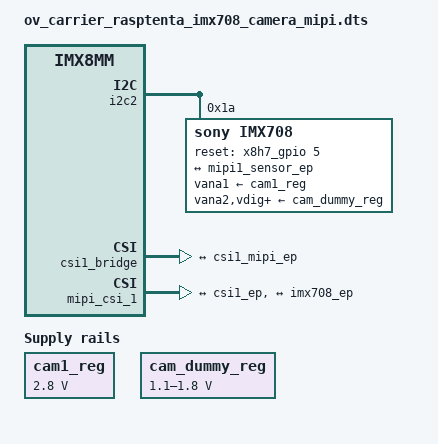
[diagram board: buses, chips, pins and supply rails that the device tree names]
/**
 * Portenta-X8 dtb overlay file
 * Arduino 2023
 * This overlay is adding the RPi V3.0 camera
 * with cmos sensor Sony imx708 to Rasp-Tenta carrier board
 */

/dts-v1/;
/plugin/;

#include <dt-bindings/gpio/gpio.h>
#include <dt-bindings/interrupt-controller/arm-gic.h>
#include <dt-bindings/clock/imx8mm-clock.h>
#include "imx8mm-pinfunc.h"

/ {
	compatible = "fsl,imx8mm-evk", "fsl,imx8mm";

	fragment@0 {
		target-path = "/";
		__overlay__ {
			cam1_reg: cam1reg {
				compatible = "regulator-fixed";
				regulator-name = "camera_reg1";
				regulator-min-microvolt = <2800000>;
				regulator-max-microvolt = <2800000>;
				startup-delay-us = <70000>;
				off-on-delay-us = <30000>;
			};

			cam_dummy_reg: camdummyreg {
				compatible = "regulator-fixed";
				regulator-name = "camera_reg_dummy";
				regulator-min-microvolt = <1100000>;
				regulator-max-microvolt = <1800000>;
			};

			cam1_clk: cam1clk {
				compatible = "fixed-clock";
				#clock-cells = <0>;
				clock-frequency = <24000000>;
			};
		};
	};

	fragment@1 {
		target = <&i2c2>;
		__overlay__ {
			imx708@1a {
				compatible = "sony,imx708";
				reg = <0x1a>;
				status = "okay";

				clocks = <&cam1_clk>;
				clock-names = "inclk";

				vana1-supply = <&cam1_reg>;	/* 2.8v */
				vana2-supply = <&cam_dummy_reg>;/* 1.8v */
				vdig-supply = <&cam_dummy_reg>;	/* 1.1v */
				vddl-supply = <&cam_dummy_reg>;	/* 1.8v */

				csi_id = <0>;
				reset-gpios = <&x8h7_gpio 5 GPIO_ACTIVE_HIGH>; /* stm32h7 PE10 */

				rotation = <180>;
				orientation = <2>;

				port {
					imx708_ep: endpoint {
						remote-endpoint = <&mipi1_sensor_ep>;
						clock-noncontinuous;
						link-frequencies = /bits/ 64 <450000000>;
					};
				};
			};
		};
	};

	fragment@2 {
		target = <&csi1_bridge>;
		__overlay__ {
			port {
				csi1_ep: endpoint {
					remote-endpoint = <&csi1_mipi_ep>;
				};
			};
		};
	};

	fragment@3 {
		target = <&mipi_csi_1>;
		__overlay__ {
			port {
				csi1_mipi_ep: endpoint@2 {
					remote-endpoint = <&csi1_ep>;
				};

				mipi1_sensor_ep: endpoint@1 {
					remote-endpoint = <&imx708_ep>;
					/*clock-lanes = <0>;*/
					clock-noncontinuous;
					data-lanes = <2>;
					csis-hs-settle = <33>;
					csis-clk-settle = <0>;
					csis-wclk; /* 1=EXTCLK, source from MIPI_CSI_CLK */
				};
			};
		};
	};
};
